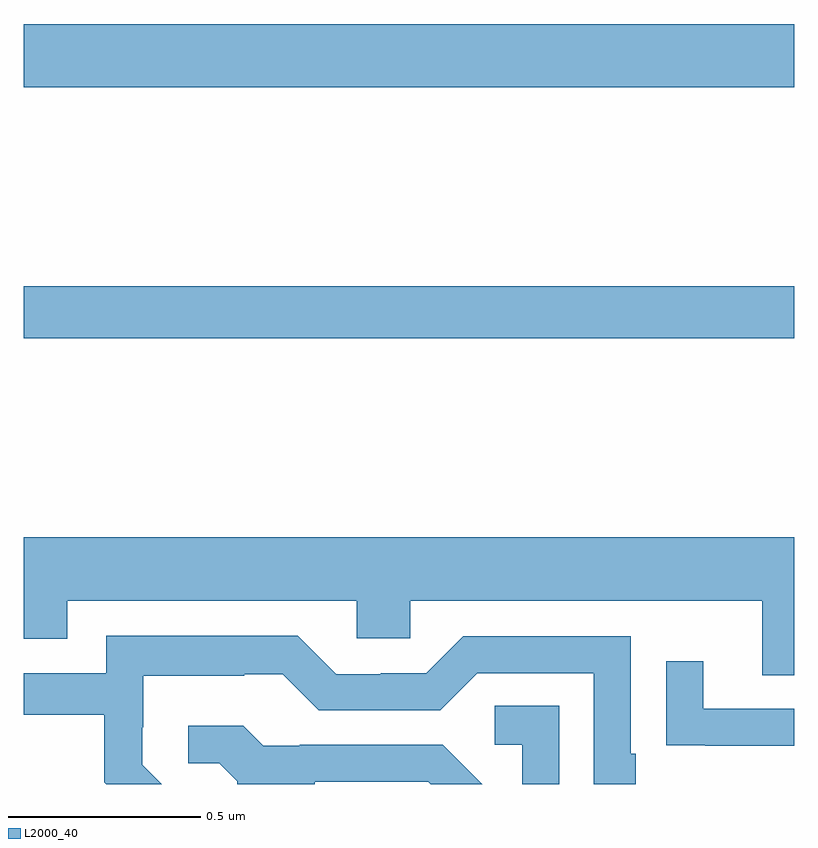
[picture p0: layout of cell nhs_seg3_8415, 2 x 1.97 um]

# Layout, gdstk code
import gdstk
lib = gdstk.Library(unit=1e-6, precision=1e-09)
def R(c, l, rs):  # rectangles x0, y0, x1, y1
    for r in rs: c.add(gdstk.rectangle(r[:2], r[2:], *l))
def P(c, l, *ps):  # polygons
    for p in ps: c.add(gdstk.Polygon(p, *l))
L2000_40 = (2000, 40)

nhs_seg3_8415 = lib.new_cell('nhs_seg3_8415')
R(nhs_seg3_8415, L2000_40, [(215,741.556,217,741.692), (215,742.208,217,742.372)])
P(nhs_seg3_8415, L2000_40, [(217,741.04),(215,741.04),(215,740.777),(215.113,740.777),(215.113,740.876),(215.865,740.876),(215.865,740.778),(216.003,740.778),(216.003,740.876),(216.917,740.876),(216.917,740.682),(217,740.682)],
  [(215.308,740.45),(215.308,740.547),(215.31,740.547),(215.31,740.681),(215.573,740.681),(215.573,740.685),(215.673,740.685),(215.766,740.592),(216.081,740.592),(216.177,740.688),(216.48,740.688),(216.48,740.4),(216.589,740.4),(216.589,740.479),(216.576,740.479),(216.576,740.784),(216.141,740.784),(216.045,740.688),(215.927,740.688),(215.927,740.685),(215.811,740.685),(215.711,740.785),(215.214,740.785),(215.214,740.688),(215,740.688),(215,740.58),(215.209,740.58),(215.209,740.405),(215.214,740.4),(215.358,740.4)],
  [(217,740.595),(216.763,740.595),(216.763,740.719),(216.667,740.719),(216.667,740.5),(216.769,740.5),(216.769,740.499),(217,740.499)],
  [(216.39,740.603),(216.222,740.603),(216.222,740.502),(216.294,740.502),(216.294,740.4),(216.39,740.4)],
  [(215.755,740.406),(216.05,740.406),(216.056,740.4),(216.19,740.4),(216.088,740.502),(215.716,740.502),(215.716,740.499),(215.622,740.499),(215.57,740.551),(215.427,740.551),(215.427,740.454),(215.508,740.454),(215.555,740.407),(215.555,740.4),(215.755,740.4)])

lib.write_gds('nhs_seg3_8415.gds')
